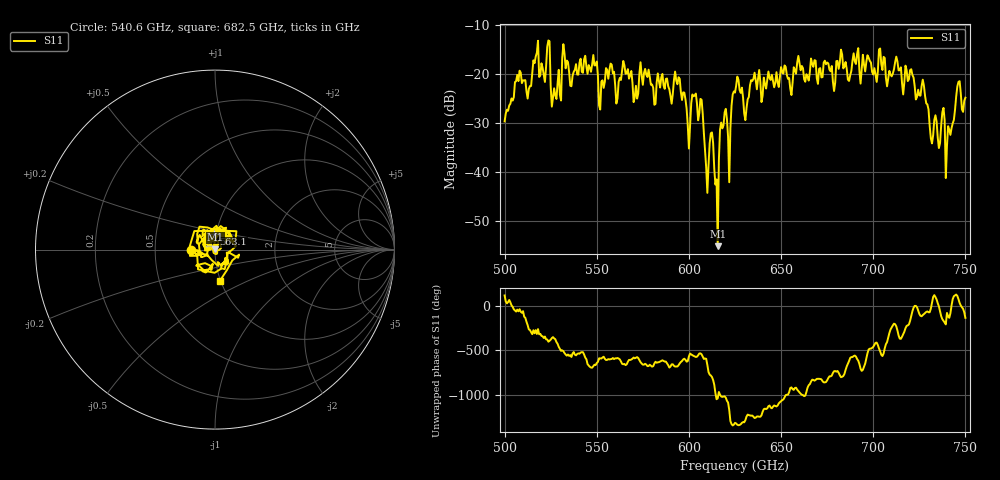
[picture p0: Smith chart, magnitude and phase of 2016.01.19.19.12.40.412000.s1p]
!Created with skrf (http://scikit-rf.org).
# GHz S RI R 50.0
!freq ReS11 ImS11
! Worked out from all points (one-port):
!   401 points, 500 GHz to 750 GHz, reference 50 ohm
!   lowest |S11| = -55.0 dB at 615.6 GHz (marker M1), VSWR 1.00, Z = 50.1 + j0.116 ohm
!   |S11| at or under -10 dB: start of sweep to end of sweep
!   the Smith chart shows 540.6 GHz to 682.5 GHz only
!   S11 on the Smith chart (normalised r, x): 540.6 GHz: 0.77, -0.00; 563.1 GHz: 0.97, +0.17; 682.5 GHz: 0.99, -0.36
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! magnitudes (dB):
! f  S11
! 500 GHz  -29.6
! 507.5 GHz  -21.4
! 513.1 GHz  -23.0
! 516.9 GHz  -16.4
! 523.8 GHz  -13.1
! 526.9 GHz  -22.8
! 531.2 GHz  -16.7
! 540.6 GHz  -17.7
! 562.5 GHz  -20.7
! 563.1 GHz  -21.2
! 593.8 GHz  -22.0
! 599.4 GHz  -30.4
! 602.5 GHz  -24.5
! 606.9 GHz  -25.2
! 609.4 GHz  -39.0
! 612.5 GHz  -31.8
! 615.6 GHz  -55.0
! 618.1 GHz  -31.0
! 621.9 GHz  -42.0
! 625 GHz  -23.7
! 631.2 GHz  -26.9
! 656.2 GHz  -21.7
! 682.5 GHz  -15.0
! 687.5 GHz  -20.2
! 718.8 GHz  -21.4
! 740.6 GHz  -30.6
! 746.2 GHz  -21.5
! 750 GHz  -24.8
